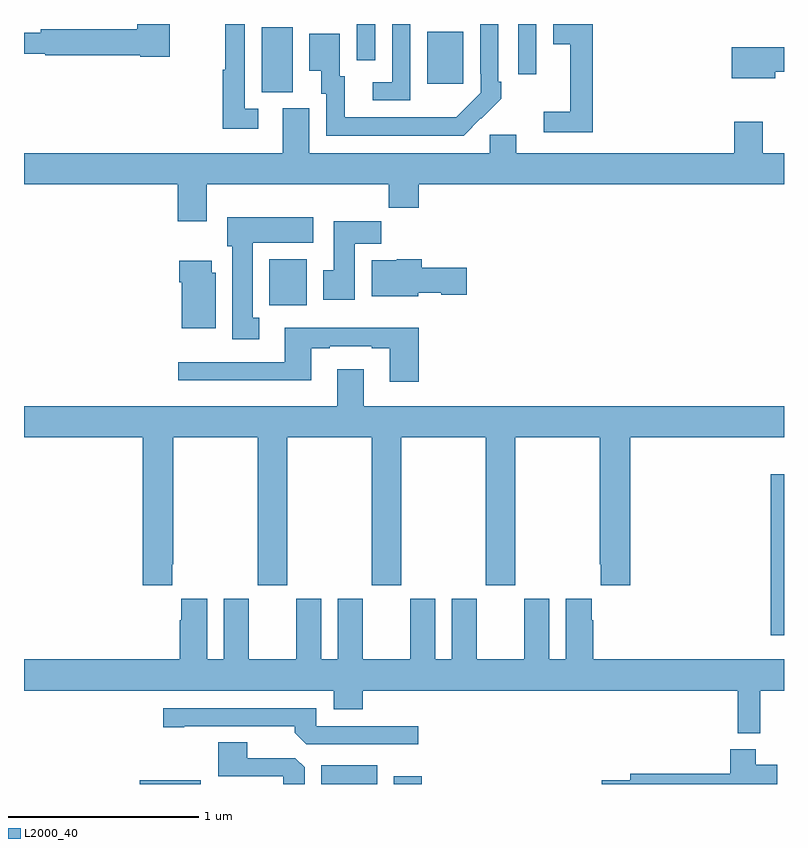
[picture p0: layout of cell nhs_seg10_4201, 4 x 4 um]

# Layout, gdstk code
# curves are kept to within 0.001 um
import gdstk
lib = gdstk.Library(unit=1e-6, precision=1e-09)
def R(c, l, rs):  # rectangles x0, y0, x1, y1
    for r in rs: c.add(gdstk.rectangle(r[:2], r[2:], *l))
def P(c, l, *ps):  # polygons
    for p in ps: c.add(gdstk.Polygon(p, *l))
L2000_40 = (2000, 40)

nhs_seg10_4201 = lib.new_cell('nhs_seg10_4201')
R(nhs_seg10_4201, L2000_40, [(345.608,1290.5,345.931,1290.52), (346.565,1290.5,346.858,1290.598), (346.946,1290.5,347.093,1290.541), (348.931,1291.284,349,1292.131), (346.292,1293.02,346.489,1293.262), (346.25,1294.141,346.414,1294.484), (347.123,1294.185,347.311,1294.459), (347.601,1294.236,347.697,1294.5), (346.752,1294.308,346.848,1294.5)])
P(nhs_seg10_4201, L2000_40, [(347.405,1294.003),(347.406,1294.002),(347.511,1294.107),(347.511,1294.195),(347.496,1294.195),(347.496,1294.5),(347.4,1294.5),(347.4,1294.237),(347.403,1294.237),(347.403,1294.137),(347.275,1294.009),(346.687,1294.008),(346.687,1294.224),(346.663,1294.224),(346.663,1294.45),(346.502,1294.45),(346.502,1294.253),(346.565,1294.253),(346.565,1294.134),(346.59,1294.134),(346.59,1293.912),(347.314,1293.912)],
  [(347.034,1294.5),(346.938,1294.5),(346.938,1294.194),(346.836,1294.194),(346.836,1294.098),(347.034,1294.098)],
  [(347.993,1294.498),(347.987,1294.498),(347.987,1294.5),(347.786,1294.5),(347.786,1294.394),(347.876,1294.394),(347.876,1294.039),(347.736,1294.039),(347.736,1293.93),(347.993,1293.93)],
  [(346.234,1294.053),(346.161,1294.053),(346.161,1294.5),(346.06,1294.5),(346.06,1294.26),(346.045,1294.26),(346.045,1293.948),(346.234,1293.948)],
  [(345.766,1294.5),(345.596,1294.5),(345.596,1294.472),(345.088,1294.472),(345.088,1294.453),(345,1294.453),(345,1294.344),(345.112,1294.344),(345.112,1294.336),(345.612,1294.336),(345.612,1294.328),(345.766,1294.328)],
  [(348.955,1294.25),(349,1294.25),(349,1294.378),(348.726,1294.378),(348.726,1294.214),(348.955,1294.214)],
  [(345.961,1293.656),(346.921,1293.656),(346.921,1293.532),(347.078,1293.532),(347.078,1293.656),(349,1293.656),(349,1293.82),(348.889,1293.82),(348.889,1293.985),(348.737,1293.985),(348.737,1293.82),(347.59,1293.82),(347.59,1293.918),(347.451,1293.918),(347.451,1293.82),(346.501,1293.82),(346.501,1294.056),(346.361,1294.056),(346.361,1293.82),(345,1293.82),(345,1293.656),(345.809,1293.656),(345.809,1293.462),(345.961,1293.462)],
  [(346.237,1292.954),(346.204,1292.954),(346.204,1293.35),(346.522,1293.35),(346.522,1293.484),(346.07,1293.484),(346.07,1293.33),(346.097,1293.33),(346.097,1292.841),(346.237,1292.841)],
  [(346.741,1293.344),(346.88,1293.344),(346.88,1293.463),(346.631,1293.463),(346.631,1293.204),(346.574,1293.204),(346.574,1293.048),(346.741,1293.048)],
  [(347.076,1293.086),(347.196,1293.086),(347.196,1293.074),(347.329,1293.074),(347.329,1293.216),(347.093,1293.216),(347.093,1293.262),(346.962,1293.262),(346.962,1293.256),(346.829,1293.256),(346.829,1293.068),(347.076,1293.068)],
  [(346.009,1293.192),(345.988,1293.192),(345.988,1293.253),(345.818,1293.253),(345.818,1293.14),(345.83,1293.14),(345.83,1292.9),(346.009,1292.9)],
  [(347.078,1292.902),(346.373,1292.902),(346.373,1292.721),(345.813,1292.721),(345.813,1292.624),(346.513,1292.624),(346.513,1292.793),(346.609,1292.793),(346.609,1292.805),(346.829,1292.805),(346.829,1292.793),(346.925,1292.793),(346.925,1292.616),(347.078,1292.616)],
  [(345.781,1291.657),(345.786,1291.657),(345.786,1292.324),(346.231,1292.324),(346.231,1291.545),(346.386,1291.545),(346.386,1292.324),(346.831,1292.324),(346.831,1291.545),(346.986,1291.545),(346.986,1292.324),(347.431,1292.324),(347.431,1291.545),(347.586,1291.545),(347.586,1292.324),(348.031,1292.324),(348.031,1291.657),(348.035,1291.657),(348.035,1291.545),(348.191,1291.545),(348.191,1292.324),(349,1292.324),(349,1292.488),(346.789,1292.488),(346.789,1292.683),(346.649,1292.683),(346.649,1292.488),(345,1292.488),(345,1292.324),(345.626,1292.324),(345.626,1291.545),(345.781,1291.545)],
  [(348.875,1290.992),(349,1290.992),(349,1291.156),(347.996,1291.156),(347.996,1291.361),(347.989,1291.361),(347.989,1291.474),(347.852,1291.474),(347.852,1291.156),(347.764,1291.156),(347.764,1291.474),(347.633,1291.474),(347.633,1291.156),(347.383,1291.156),(347.383,1291.474),(347.252,1291.474),(347.252,1291.156),(347.164,1291.156),(347.164,1291.474),(347.033,1291.474),(347.033,1291.156),(346.783,1291.156),(346.783,1291.474),(346.652,1291.474),(346.652,1291.156),(346.564,1291.156),(346.564,1291.474),(346.433,1291.474),(346.433,1291.156),(346.183,1291.156),(346.183,1291.474),(346.052,1291.474),(346.052,1291.156),(345.964,1291.156),(345.964,1291.474),(345.827,1291.474),(345.827,1291.361),(345.821,1291.361),(345.821,1291.156),(345,1291.156),(345,1290.992),(346.631,1290.992),(346.631,1290.893),(346.784,1290.893),(346.784,1290.992),(348.757,1290.992),(348.757,1290.767),(348.875,1290.767)],
  [(347.074,1290.804),(346.539,1290.804),(346.539,1290.9),(345.732,1290.9),(345.732,1290.799),(345.844,1290.799),(345.844,1290.804),(346.424,1290.804),(346.424,1290.77),(346.485,1290.708),(347.074,1290.708)],
  [(346.477,1290.587),(346.428,1290.636),(346.174,1290.636),(346.174,1290.719),(346.022,1290.719),(346.022,1290.54),(346.365,1290.54),(346.365,1290.5),(346.477,1290.5)],
  [(348.964,1290.601),(348.85,1290.601),(348.85,1290.682),(348.716,1290.682),(348.716,1290.553),(348.191,1290.553),(348.191,1290.519),(348.042,1290.519),(348.042,1290.5),(348.964,1290.5)])

lib.write_gds('nhs_seg10_4201.gds')
